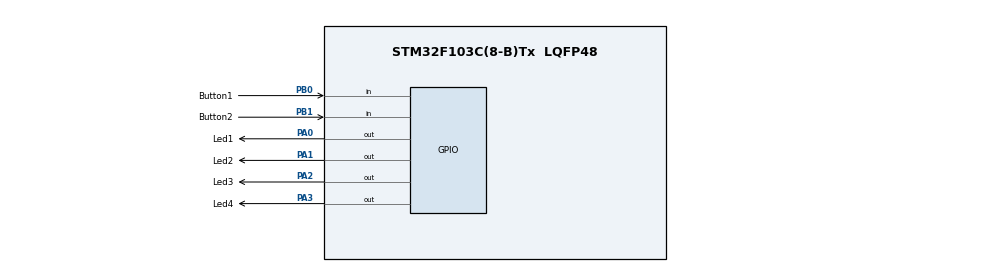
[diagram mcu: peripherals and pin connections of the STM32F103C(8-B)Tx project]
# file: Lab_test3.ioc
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Mcu.Family=STM32F1
Mcu.Name=STM32F103C(8-B)Tx
Mcu.Package=LQFP48
NVIC.PriorityGroup=NVIC_PRIORITYGROUP_4
PA0-WKUP.GPIO_Label=Led1
PA0-WKUP.Signal=GPIO_Output
PA1.GPIO_Label=Led2
PA1.Signal=GPIO_Output
PA2.GPIO_Label=Led3
PA2.Signal=GPIO_Output
PA3.GPIO_Label=Led4
PA3.Signal=GPIO_Output
PB0.GPIO_Label=Button1
PB0.Signal=GPIO_Input
PB1.GPIO_Label=Button2
PB1.Signal=GPIO_Input
ProjectManager.HeapSize=0x200
ProjectManager.StackSize=0x400
ProjectManager.TargetToolchain=STM32CubeIDE
RCC.APB1Freq_Value=8000000
RCC.APB2Freq_Value=8000000
board=custom

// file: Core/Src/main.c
/* USER CODE BEGIN Header */
/**
  ******************************************************************************
  * @file           : main.c
  * @brief          : Main program body
  ******************************************************************************
  * @attention
  *
  * Copyright (c) 2025 STMicroelectronics.
  * All rights reserved.
  *
  * This software is licensed under terms that can be found in the LICENSE file
  * in the root directory of this software component.
  * If no LICENSE file comes with this software, it is provided AS-IS.
  *
  ******************************************************************************
  */
/* USER CODE END Header */
#include "main.h"

void SystemClock_Config(void);
static void MX_GPIO_Init(void);

int main(void)
{

  /* MCU Configuration--------------------------------------------------------*/

  /* Reset of all peripherals, Initializes the Flash interface and the Systick. */
  HAL_Init();

  /* Configure the system clock */
  SystemClock_Config();

  /* Initialize all configured peripherals */
  MX_GPIO_Init();

  /* Infinite loop */
  /* USER CODE BEGIN WHILE */
  int LEDS[] = {Led1_Pin, Led2_Pin, Led3_Pin, Led4_Pin};
      /*int len = sizeof(LEDS) / sizeof(LEDS[0]);
      int state1;
      int state2;*/
      uint8_t current_led = 0;
      uint8_t leds_count = 1;
      while (1)
      {
    	  if (HAL_GPIO_ReadPin(GPIOB, Button1_Pin) == GPIO_PIN_RESET) {
    	             HAL_Delay(100);
    	             if (HAL_GPIO_ReadPin(GPIOB, Button1_Pin) == GPIO_PIN_RESET) {
    	                 for (int i = 0; i < 4; i++) {
    	                     HAL_GPIO_WritePin(GPIOA, LEDS[i], GPIO_PIN_RESET);
    	                 }
    	                 HAL_GPIO_WritePin(GPIOA, LEDS[current_led], GPIO_PIN_SET);

    	                 current_led = (current_led + 1) % 4;

    	                 while (HAL_GPIO_ReadPin(GPIOB, Button1_Pin) == GPIO_PIN_RESET);
    	             }
    	         }

    	         if (HAL_GPIO_ReadPin(GPIOB, Button2_Pin) == GPIO_PIN_RESET) {
    	             HAL_Delay(100);
    	             if (HAL_GPIO_ReadPin(GPIOB, Button2_Pin) == GPIO_PIN_RESET) {
    	                 for (int i = 0; i < leds_count; i++) {
    	                     HAL_GPIO_WritePin(GPIOA, LEDS[i], GPIO_PIN_SET);
    	                 }
    	                 leds_count++;
    	                 if (leds_count > 5) {
    	                     leds_count = 1;
    	                     for (int i = 0; i < 4; i++) {
    	                         HAL_GPIO_WritePin(GPIOA, LEDS[i], GPIO_PIN_RESET);
    	                     }
    	                 }
    	                 while (HAL_GPIO_ReadPin(GPIOB, Button2_Pin) == GPIO_PIN_RESET);
    	             }
    	         }
    /* USER CODE END WHILE */

  }
}

void SystemClock_Config(void)
{
  RCC_OscInitTypeDef RCC_OscInitStruct = {0};
  RCC_ClkInitTypeDef RCC_ClkInitStruct = {0};

  /** Initializes the RCC Oscillators according to the specified parameters
  * in the RCC_OscInitTypeDef structure.
  */
  RCC_OscInitStruct.OscillatorType = RCC_OSCILLATORTYPE_HSI;
  RCC_OscInitStruct.HSIState = RCC_HSI_ON;
  RCC_OscInitStruct.HSICalibrationValue = RCC_HSICALIBRATION_DEFAULT;
  RCC_OscInitStruct.PLL.PLLState = RCC_PLL_NONE;
  if (HAL_RCC_OscConfig(&RCC_OscInitStruct) != HAL_OK)
  {
    Error_Handler();
  }

  /** Initializes the CPU, AHB and APB buses clocks
  */
  RCC_ClkInitStruct.ClockType = RCC_CLOCKTYPE_HCLK|RCC_CLOCKTYPE_SYSCLK
                              |RCC_CLOCKTYPE_PCLK1|RCC_CLOCKTYPE_PCLK2;
  RCC_ClkInitStruct.SYSCLKSource = RCC_SYSCLKSOURCE_HSI;
  RCC_ClkInitStruct.AHBCLKDivider = RCC_SYSCLK_DIV1;
  RCC_ClkInitStruct.APB1CLKDivider = RCC_HCLK_DIV1;
  RCC_ClkInitStruct.APB2CLKDivider = RCC_HCLK_DIV1;

  if (HAL_RCC_ClockConfig(&RCC_ClkInitStruct, FLASH_LATENCY_0) != HAL_OK)
  {
    Error_Handler();
  }
}

static void MX_GPIO_Init(void)
{
  GPIO_InitTypeDef GPIO_InitStruct = {0};

  /* GPIO Ports Clock Enable */
  __HAL_RCC_GPIOA_CLK_ENABLE();
  __HAL_RCC_GPIOB_CLK_ENABLE();

  /*Configure GPIO pin Output Level */
  HAL_GPIO_WritePin(GPIOA, Led1_Pin|Led2_Pin|Led3_Pin|Led4_Pin, GPIO_PIN_RESET);

  /*Configure GPIO pins : Led1_Pin Led2_Pin Led3_Pin Led4_Pin */
  GPIO_InitStruct.Pin = Led1_Pin|Led2_Pin|Led3_Pin|Led4_Pin;
  GPIO_InitStruct.Mode = GPIO_MODE_OUTPUT_PP;
  GPIO_InitStruct.Pull = GPIO_NOPULL;
  GPIO_InitStruct.Speed = GPIO_SPEED_FREQ_LOW;
  HAL_GPIO_Init(GPIOA, &GPIO_InitStruct);

  /*Configure GPIO pins : Button1_Pin Button2_Pin */
  GPIO_InitStruct.Pin = Button1_Pin|Button2_Pin;
  GPIO_InitStruct.Mode = GPIO_MODE_INPUT;
  GPIO_InitStruct.Pull = GPIO_NOPULL;
  HAL_GPIO_Init(GPIOB, &GPIO_InitStruct);

}

void Error_Handler(void)
{
  __disable_irq();
  while (1)
  {
  }
}
